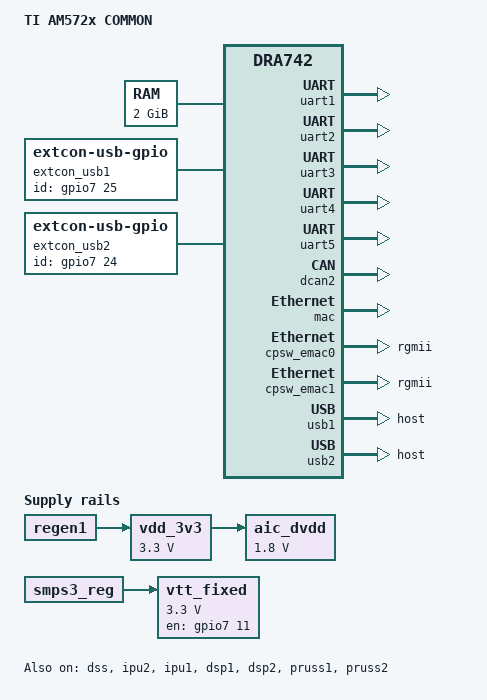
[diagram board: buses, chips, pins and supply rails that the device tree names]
/*
 * Copyright (C) 2014 Texas Instruments Incorporated - http://www.ti.com/
 *
 * This program is free software; you can redistribute it and/or modify
 * it under the terms of the GNU General Public License version 2 as
 * published by the Free Software Foundation.
 */
/dts-v1/;

#include "dra74x.dtsi"
#include <dt-bindings/gpio/gpio.h>
#include <dt-bindings/interrupt-controller/irq.h>

/ {
	model = "TI AM572x COMMON";
	compatible = "ti,am572x-common", "ti,am5728", "ti,dra742", "ti,dra74", "ti,dra7";

	aliases {
		sound1 = &hdmi;
	};

	memory {
		device_type = "memory";
		reg = <0x0 0x80000000 0x0 0x80000000>;
	};

	vdd_3v3: fixedregulator-vdd_3v3 {
		compatible = "regulator-fixed";
		regulator-name = "vdd_3v3";
		vin-supply = <&regen1>;
		regulator-min-microvolt = <3300000>;
		regulator-max-microvolt = <3300000>;
	};

	aic_dvdd: fixedregulator-aic_dvdd {
		compatible = "regulator-fixed";
		regulator-name = "aic_dvdd_fixed";
		vin-supply = <&vdd_3v3>;
		regulator-min-microvolt = <1800000>;
		regulator-max-microvolt = <1800000>;
	};

	vtt_fixed: fixedregulator-vtt {
		/* TPS51200 */
		compatible = "regulator-fixed";
		regulator-name = "vtt_fixed";
		vin-supply = <&smps3_reg>;
		regulator-min-microvolt = <3300000>;
		regulator-max-microvolt = <3300000>;
		regulator-always-on;
		regulator-boot-on;
		enable-active-high;
		gpio = <&gpio7 11 GPIO_ACTIVE_HIGH>;
	};
	
	extcon_usb1: extcon_usb1 {
		compatible = "linux,extcon-usb-gpio";
		id-gpio = <&gpio7 25 GPIO_ACTIVE_HIGH>;
	};

	extcon_usb2: extcon_usb2 {
		compatible = "linux,extcon-usb-gpio";
		id-gpio = <&gpio7 24 GPIO_ACTIVE_HIGH>;
	};

};

/* We still keep the speed. because We haven't found any problem yet*/
&dpll_dsp_ck {
	assigned-clock-rates = <750000000>;
};

&dpll_dsp_m2_ck {
	assigned-clock-rates = <750000000>;
};

&dpll_dsp_m3x2_ck {
	assigned-clock-rates = <500000000>;
};

&dpll_iva_ck {
	assigned-clock-rates = <1064000000>;
};

&dpll_iva_m2_ck {
	assigned-clock-rates = <532000000>;
};

/* Pinmux Setting */
&dra7_pmx_core {
	leds_pins_default: leds_pins_default {
		pinctrl-single,pins = <
			0x3a8 (PIN_OUTPUT | MUX_MODE14)	/* spi1_d1.gpio7_8 */
			0x3ac (PIN_OUTPUT | MUX_MODE14)	/* spi1_d0.gpio7_9 */
			0x3c0 (PIN_OUTPUT | MUX_MODE14)	/* spi2_sclk.gpio7_14 */
			0x3c4 (PIN_OUTPUT | MUX_MODE14)	/* spi2_d1.gpio7_15 */
		>;
	};

	i2c1_pins_default: i2c1_pins_default {
		pinctrl-single,pins = <
			0x400 (PIN_INPUT_PULLUP | MUX_MODE0)	/* i2c1_sda.sda */
			0x404 (PIN_INPUT_PULLUP | MUX_MODE0)	/* i2c1_scl.scl */
		>;
	};

	hdmi_pins: pinmux_hdmi_pins {
		pinctrl-single,pins = <
			0x408 (PIN_INPUT | MUX_MODE1)	/* i2c2_sda.hdmi1_ddc_scl */
			0x40c (PIN_INPUT | MUX_MODE1)	/* i2c2_scl.hdmi1_ddc_sda */
		>;
	};

	i2c3_pins_default: i2c3_pins_default {
		pinctrl-single,pins = <
			0x2a4 (PIN_INPUT| MUX_MODE10)	/* mcasp1_aclkx.i2c3_sda */
			0x2a8 (PIN_INPUT| MUX_MODE10)	/* mcasp1_fsx.i2c3_scl */
		>;
	};

	uart3_pins_default: uart3_pins_default {
		pinctrl-single,pins = <
			0x3f8 (PIN_INPUT_SLEW | MUX_MODE2) /* uart2_ctsn.uart3_rxd */
			0x3fc (PIN_INPUT_SLEW | MUX_MODE1) /* uart2_rtsn.uart3_txd */
		>;
	};

	mmc1_pins_default: mmc1_pins_default {
		pinctrl-single,pins = <
			0x36c (PIN_INPUT | MUX_MODE14)	/* mmc1sdcd.gpio219 */
			0x354 (PIN_INPUT_PULLUP | MUX_MODE0) /* mmc1_clk.clk */
			0x358 (PIN_INPUT_PULLUP | MUX_MODE0) /* mmc1_cmd.cmd */
			0x35c (PIN_INPUT_PULLUP | MUX_MODE0) /* mmc1_dat0.dat0 */
			0x360 (PIN_INPUT_PULLUP | MUX_MODE0) /* mmc1_dat1.dat1 */
			0x364 (PIN_INPUT_PULLUP | MUX_MODE0) /* mmc1_dat2.dat2 */
			0x368 (PIN_INPUT_PULLUP | MUX_MODE0) /* mmc1_dat3.dat3 */
		>;
	};

	mmc1_pins_hs: pinmux_mmc1_hs_pins {
		pinctrl-single,pins = <
			0x354 (PIN_INPUT_PULLUP | MUX_VIRTUAL_MODE11 | MUX_MODE0)	/* mmc1_clk.clk */
			0x358 (PIN_INPUT_PULLUP | MUX_VIRTUAL_MODE11 | MUX_MODE0)	/* mmc1_cmd.cmd */
			0x35c (PIN_INPUT_PULLUP | MUX_VIRTUAL_MODE11 | MUX_MODE0)	/* mmc1_dat0.dat0 */
			0x360 (PIN_INPUT_PULLUP | MUX_VIRTUAL_MODE11 | MUX_MODE0)	/* mmc1_dat1.dat1 */
			0x364 (PIN_INPUT_PULLUP | MUX_VIRTUAL_MODE11 | MUX_MODE0)	/* mmc1_dat2.dat2 */
			0x368 (PIN_INPUT_PULLUP | MUX_VIRTUAL_MODE11 | MUX_MODE0)	/* mmc1_dat3.dat3 */
		>;
	};

	mmc2_pins_default: mmc2_pins_default {
		pinctrl-single,pins = <
			0x9c (PIN_INPUT_PULLUP | MUX_MODE1) /* gpmc_a23.mmc2_clk */
			0xb0 (PIN_INPUT_PULLUP | MUX_MODE1) /* gpmc_cs1.mmc2_cmd */
			0xa0 (PIN_INPUT_PULLUP | MUX_MODE1) /* gpmc_a24.mmc2_dat0 */
			0xa4 (PIN_INPUT_PULLUP | MUX_MODE1) /* gpmc_a25.mmc2_dat1 */
			0xa8 (PIN_INPUT_PULLUP | MUX_MODE1) /* gpmc_a26.mmc2_dat2 */
			0xac (PIN_INPUT_PULLUP | MUX_MODE1) /* gpmc_a27.mmc2_dat3 */
			0x8c (PIN_INPUT_PULLUP | MUX_MODE1) /* gpmc_a19.mmc2_dat4 */
			0x90 (PIN_INPUT_PULLUP | MUX_MODE1) /* gpmc_a20.mmc2_dat5 */
			0x94 (PIN_INPUT_PULLUP | MUX_MODE1) /* gpmc_a21.mmc2_dat6 */
			0x98 (PIN_INPUT_PULLUP | MUX_MODE1) /* gpmc_a22.mmc2_dat7 */
		>;
	};

	mmc2_pins_hs: mmc2_pins_hs {
		pinctrl-single,pins = <
			0x9c (PIN_INPUT_PULLUP | MUX_MODE1) /* gpmc_a23.mmc2_clk */
			0xb0 (PIN_INPUT_PULLUP | MUX_MODE1) /* gpmc_cs1.mmc2_cmd */
			0xa0 (PIN_INPUT_PULLUP | MUX_MODE1) /* gpmc_a24.mmc2_dat0 */
			0xa4 (PIN_INPUT_PULLUP | MUX_MODE1) /* gpmc_a25.mmc2_dat1 */
			0xa8 (PIN_INPUT_PULLUP | MUX_MODE1) /* gpmc_a26.mmc2_dat2 */
			0xac (PIN_INPUT_PULLUP | MUX_MODE1) /* gpmc_a27.mmc2_dat3 */
			0x8c (PIN_INPUT_PULLUP | MUX_MODE1) /* gpmc_a19.mmc2_dat4 */
			0x90 (PIN_INPUT_PULLUP | MUX_MODE1) /* gpmc_a20.mmc2_dat5 */
			0x94 (PIN_INPUT_PULLUP | MUX_MODE1) /* gpmc_a21.mmc2_dat6 */
			0x98 (PIN_INPUT_PULLUP | MUX_MODE1) /* gpmc_a22.mmc2_dat7 */
		>;
	};

	mmc2_pins_ddr_1_8v: pinmux_mmc2_ddr_1_8v_pins {
		pinctrl-single,pins = <
			0x9c (PIN_INPUT_PULLUP | MANUAL_MODE | MUX_MODE1) /* gpmc_a23.mmc2_clk */
			0xb0 (PIN_INPUT_PULLUP | MANUAL_MODE | MUX_MODE1) /* gpmc_cs1.mmc2_cmd */
			0xa0 (PIN_INPUT_PULLUP | MANUAL_MODE | MUX_MODE1) /* gpmc_a24.mmc2_dat0 */
			0xa4 (PIN_INPUT_PULLUP | MANUAL_MODE | MUX_MODE1) /* gpmc_a25.mmc2_dat1 */
			0xa8 (PIN_INPUT_PULLUP | MANUAL_MODE | MUX_MODE1) /* gpmc_a26.mmc2_dat2 */
			0xac (PIN_INPUT_PULLUP | MANUAL_MODE | MUX_MODE1) /* gpmc_a27.mmc2_dat3 */
			0x8c (PIN_INPUT_PULLUP | MANUAL_MODE | MUX_MODE1) /* gpmc_a19.mmc2_dat4 */
			0x90 (PIN_INPUT_PULLUP | MANUAL_MODE | MUX_MODE1) /* gpmc_a20.mmc2_dat5 */
			0x94 (PIN_INPUT_PULLUP | MANUAL_MODE | MUX_MODE1) /* gpmc_a21.mmc2_dat6 */
			0x98 (PIN_INPUT_PULLUP | MANUAL_MODE | MUX_MODE1) /* gpmc_a22.mmc2_dat7 */
		>;
	};

	/* Add by Qing for dcan2 */
	dcan2_pins_default: dcan2_pins_default {
		pinctrl-single,pins = <
			0x3B8 (PIN_OUTPUT_PULLUP | MUX_MODE4)  /* CAN2_TX */
			0x3BC (PIN_INPUT_PULLUP | MUX_MODE4)  /* CAN2_RX */
		>;
	};
};

&dra7_iodelay_core {
	mmc2_iodelay_ddr_1_8v_conf: mmc2_iodelay_ddr_1_8v_conf {
		pinctrl-single,pins = <
			0x18c (A_DELAY(0) | G_DELAY(0))		/* CFG_GPMC_A19_IN */
			0x1a4 (A_DELAY(274) | G_DELAY(240))	/* CFG_GPMC_A20_IN */
			0x1b0 (A_DELAY(0) | G_DELAY(60))	/* CFG_GPMC_A21_IN */
			0x1bc (A_DELAY(0) | G_DELAY(60))	/* CFG_GPMC_A22_IN */
			0x1c8 (A_DELAY(514) | G_DELAY(360))	/* CFG_GPMC_A23_IN */
			0x1d4 (A_DELAY(187) | G_DELAY(120))	/* CFG_GPMC_A24_IN */
			0x1e0 (A_DELAY(0) | G_DELAY(0))		/* CFG_GPMC_A25_IN */
			0x1ec (A_DELAY(0) | G_DELAY(60))	/* CFG_GPMC_A26_IN */
			0x1f8 (A_DELAY(121) | G_DELAY(60))	/* CFG_GPMC_A27_IN */
			0x360 (A_DELAY(0) | G_DELAY(0))		/* CFG_GPMC_CS1_IN */
			0x190 (A_DELAY(0) | G_DELAY(0))		/* CFG_GPMC_A19_OEN */
			0x194 (A_DELAY(174) | G_DELAY(0))	/* CFG_GPMC_A19_OUT */
			0x1a8 (A_DELAY(0) | G_DELAY(0))		/* CFG_GPMC_A20_OEN */
			0x1ac (A_DELAY(168) | G_DELAY(0))	/* CFG_GPMC_A20_OUT */
			0x1b4 (A_DELAY(0) | G_DELAY(0))		/* CFG_GPMC_A21_OEN */
			0x1b8 (A_DELAY(136) | G_DELAY(0))	/* CFG_GPMC_A21_OUT */
			0x1c0 (A_DELAY(0) | G_DELAY(0))		/* CFG_GPMC_A22_OEN */
			0x1c4 (A_DELAY(0) | G_DELAY(0))		/* CFG_GPMC_A22_OUT */
			0x1d0 (A_DELAY(879) | G_DELAY(0))	/* CFG_GPMC_A23_OUT */
			0x1d8 (A_DELAY(0) | G_DELAY(0))		/* CFG_GPMC_A24_OEN */
			0x1dc (A_DELAY(0) | G_DELAY(0))		/* CFG_GPMC_A24_OUT */
			0x1e4 (A_DELAY(0) | G_DELAY(0))		/* CFG_GPMC_A25_OEN */
			0x1e8 (A_DELAY(34) | G_DELAY(0))	/* CFG_GPMC_A25_OUT */
			0x1f0 (A_DELAY(0) | G_DELAY(0))		/* CFG_GPMC_A26_OEN */
			0x1f4 (A_DELAY(120) | G_DELAY(0))	/* CFG_GPMC_A26_OUT */
			0x1fc (A_DELAY(0) | G_DELAY(0))		/* CFG_GPMC_A27_OEN */
			0x200 (A_DELAY(0) | G_DELAY(0))		/* CFG_GPMC_A27_OUT */
			0x364 (A_DELAY(0) | G_DELAY(0))		/* CFG_GPMC_CS1_OEN */
			0x368 (A_DELAY(11) | G_DELAY(0))	/* CFG_GPMC_CS1_OUT */
		>;
	};
};

/*
* I2C bus configuration 1-5; 
*/
&i2c1 {
	status = "disable";
	clock-frequency = <400000>;
};
&i2c2 {
	status = "disable";
	clock-frequency = <400000>;
};
&i2c3 {
	status = "disable";
	clock-frequency = <400000>;
};
&i2c4 {
	status = "disable";
	clock-frequency = <400000>;	
};
&i2c5 {
	status = "disable";
	clock-frequency = <400000>;	
};

/*
* QSPI:
* The QSPI controller max speed is 192MHz howerver SPI flash max speed is 104MHz, 
* So setup Max speed to be less than that of Controller speed. 12MHz is
* currently recommanded. buggy, will halt by mtd_debug write at 24MHz.
*/
&qspi {
	status = "disable";
	spi-max-frequency = <12000000>;
};

&gpio7 {
	ti,no-reset-on-init;
	ti,no-idle-on-init;
};

/******** PMIC power supply *******/
&oppdm_mpu {
	vdd-supply = <&smps12_reg>;
};

&oppdm_dspeve {
	vdd-supply = <&smps45_reg>;
};

&oppdm_gpu {
	vdd-supply = <&smps45_reg>;
};

&oppdm_ivahd {
	vdd-supply = <&smps45_reg>;
};

&oppdm_core {
	vdd-supply = <&smps6_reg>;
};

/*
&cpu0 {
	cpu0-voltdm = <&voltdm_mpu>;
	voltage-tolerance = <1>;
};
*/
/***** AM5728 based IO devices *******/

/*
* uart
*/
&uart1 {
	status = "okay";
};
&uart2 {
	status = "okay";
};
&uart3 {
	status = "okay";
};
&uart4 {
	status = "okay";
};
&uart5 {
	status = "okay";
};

/*
* dcan
*/
&dcan1 {
	status = "disabled";
};

&dcan2 {
	status = "okay";
	pinctrl-names = "default";
	pinctrl-0 = <&dcan2_pins_default>;
};

/*
* Ethernet: 2 cpsw_emac by default.
* This should not be modified. if you are intend to use
* a eMAC, you can modify your own top device tree. 
* eg. /delete-property/ or/delete-node/.
*/
&mac {
	status = "okay";
	dual_emac;
};

&cpsw_emac0 {
	phy_id = <&davinci_mdio>, <1>;
	phy-mode = "rgmii";
	dual_emac_res_vlan = <1>;
};

&cpsw_emac1 {
	phy_id = <&davinci_mdio>, <2>;
	phy-mode = "rgmii";
	dual_emac_res_vlan = <2>;
};

/*
* eMMC SD & Nand!
*/
&mmc1 {
	status = "disable";

	pinctrl-names = "default", "hs";
	pinctrl-0 = <&mmc1_pins_default>;
	pinctrl-1 = <&mmc1_pins_hs>;
};

&mmc2 {
	status = "disable";

	pinctrl-names = "default", "hs", "ddr_1_8v";
	pinctrl-0 = <&mmc2_pins_default>;
	pinctrl-1 = <&mmc2_pins_hs>;
	pinctrl-2 = <&mmc2_pins_ddr_1_8v &mmc2_iodelay_ddr_1_8v_conf>;
};

/*
* Sata Controllor
*/
&sata {
	status = "disabled";
};

/*
* USB Port 
*/
&usb2_phy1 {
	phy-supply = <&ldousb_reg>;
};

&usb2_phy2 {
	phy-supply = <&ldousb_reg>;
};

&omap_dwc3_1 {
	extcon = <&extcon_usb1>;
};

&omap_dwc3_2 {
	extcon = <&extcon_usb2>;
};

&usb1 {
	maximum-speed = "high-speed";
	dr_mode = "host";
};

&usb2 {
	dr_mode = "host";
};

/*
* Display subsytem.
*/
&dss {
	status = "ok";

	vdda_video-supply = <&ldoln_reg>;
};

/*
* HDMI interface
*/
&hdmi {
	status = "disabled";
	vdda-supply = <&ldo4_reg>;
};

/*
* Mutilchannle Audio serial port.
*/
&mcasp3 {
	#sound-dai-cells = <0>;
	assigned-clocks = <&mcasp3_ahclkx_mux>;
	assigned-clock-parents = <&sys_clkin2>;
	status = "disabled";

	op-mode = <0>;	/* MCASP_IIS_MODE */
	tdm-slots = <2>;
	/* 4 serializers */
	serial-dir = <	/* 0: INACTIVE, 1: TX, 2: RX */
		1 2 0 0
	>;
	tx-num-evt = <32>;  /* FIFO levels */
	rx-num-evt = <32>;
};

/*
* RTC onboard. we will not use it.
*/
&rtc {
	status = "disabled";
	ext-clk-src;
};

/*
* Based setting for remote core.
*/
&mailbox3 {
	status = "okay";
	mbox_pru1_0: mbox_pru1_0 {
		status = "okay";
	};
	mbox_pru1_1: mbox_pru1_1 {
		status = "okay";
	};
};

&mailbox4 {
	status = "okay";
	mbox_pru2_0: mbox_pru2_0 {
		status = "okay";
	};
	mbox_pru2_1: mbox_pru2_1 {
		status = "okay";
	};
};

&mailbox5 {
	status = "okay";
	mbox_ipu1_ipc3x: mbox_ipu1_ipc3x {
		status = "okay";
	};
	mbox_dsp1_ipc3x: mbox_dsp1_ipc3x {
		status = "okay";
	};
};

&mailbox6 {
	status = "okay";
	mbox_ipu2_ipc3x: mbox_ipu2_ipc3x {
		status = "okay";
	};
	mbox_dsp2_ipc3x: mbox_dsp2_ipc3x {
		status = "okay";
	};
};

&mmu0_dsp1 {
	status = "okay";
};

&mmu1_dsp1 {
	status = "okay";
};

&mmu0_dsp2 {
	status = "okay";
};

&mmu1_dsp2 {
	status = "okay";
};

&mmu_ipu1 {
	status = "okay";
};

&mmu_ipu2 {
	status = "okay";
};

&ipu2 {
	status = "okay";
	memory-region = <&ipu2_cma_pool>;
	mboxes = <&mailbox6 &mbox_ipu2_ipc3x>;
	timers = <&timer3>;
	watchdog-timers = <&timer4>, <&timer9>;
};

&ipu1 {
	status = "okay";
	memory-region = <&ipu1_cma_pool>;
	mboxes = <&mailbox5 &mbox_ipu1_ipc3x>;
	timers = <&timer11>;
};

&dsp1 {
	status = "okay";
	memory-region = <&dsp1_cma_pool>;
	mboxes = <&mailbox5 &mbox_dsp1_ipc3x>;
	timers = <&timer5>;
};

&dsp2 {
	status = "okay";
	memory-region = <&dsp2_cma_pool>;
	mboxes = <&mailbox6 &mbox_dsp2_ipc3x>;
	timers = <&timer6>;
};

&pruss1 {
	status = "okay";
	pru1_0: pru0@4b234000 {
		interrupt-parent = <&pruss1_intc>;
		interrupts = <16>, <17>;
		interrupt-names = "vring", "kick";
		status = "okay";
	};

	pru1_1: pru1@4b238000 {
		interrupt-parent = <&pruss1_intc>;
		interrupts = <18>, <19>;
		interrupt-names = "vring", "kick";
		status = "okay";
	};
};

&pruss2 {
	status = "okay";
	pru2_0: pru0@4b2b4000 {
		interrupt-parent = <&pruss2_intc>;
		interrupts = <16>, <17>;
		interrupt-names = "vring", "kick";
		status = "okay";
	};

	pru2_1: pru1@4b2b8000 {
		interrupt-parent = <&pruss2_intc>;
		interrupts = <18>, <19>;
		interrupt-names = "vring", "kick";
		status = "okay";
	};
};
